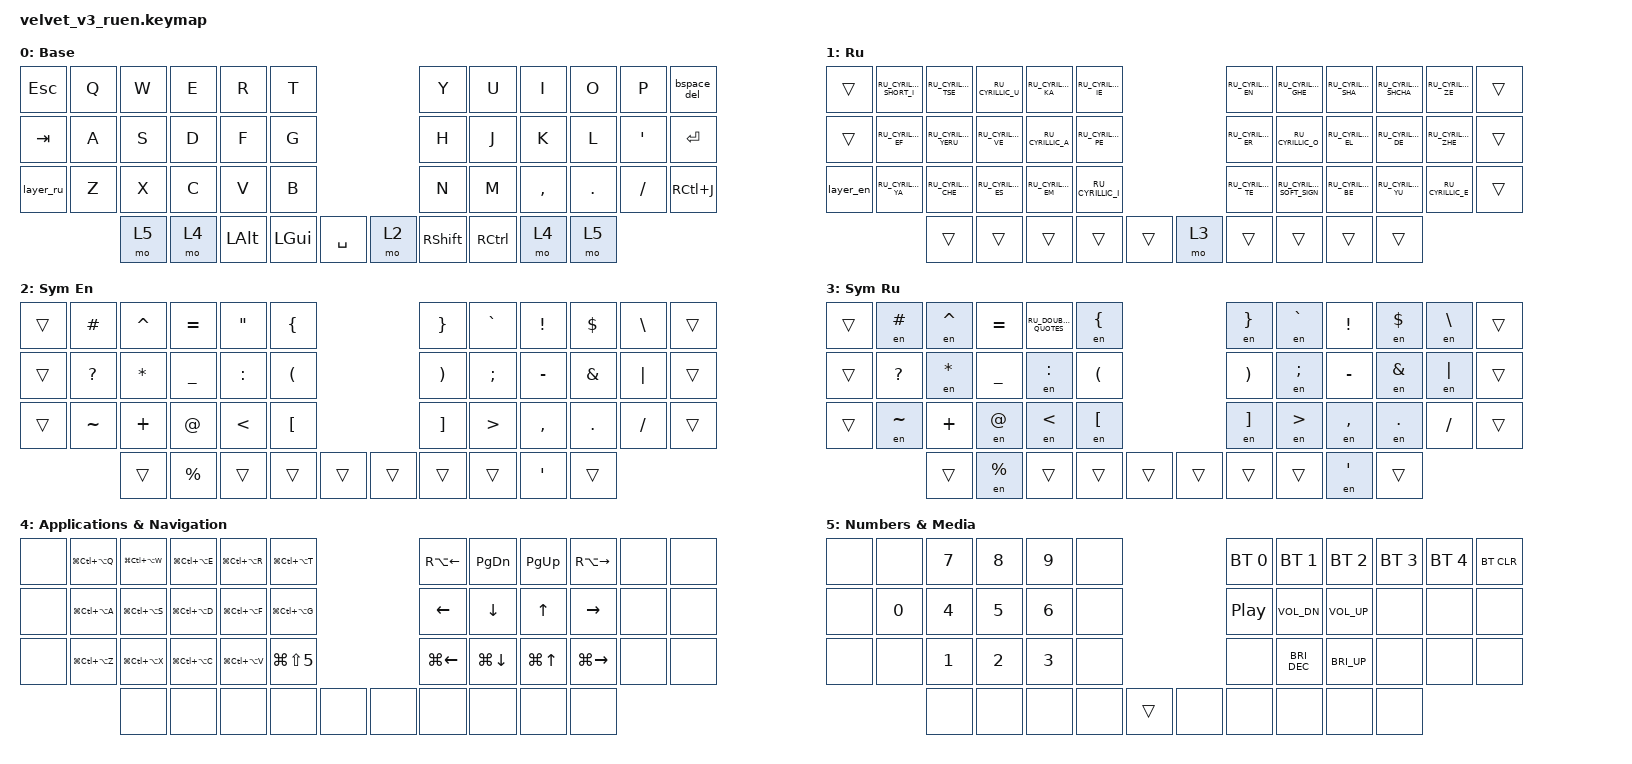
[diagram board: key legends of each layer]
#include "keys_ru.h"
#include <behaviors.dtsi>
#include <dt-bindings/zmk/bt.h>
#include <dt-bindings/zmk/keys.h>

/ {
    combos {
        compatible = "zmk,combos";

        kha {
            bindings = <&kp RU_CYRILLIC_HA>;
            key-positions = <7 8>;
            layers = <1>;
        };

        hrdsgn {
            bindings = <&kp RU_CYRILLIC_HARD_SIGN>;
            key-positions = <8 9>;
            layers = <1>;
        };

        spotlight {
            bindings = <&kp LG(SPACE)>;
            key-positions = <39 40>;
        };

        caps-word {
            bindings = <&caps_word>;
            key-positions = <24 35>;
        };
    };

    macros {
        to_ru: to_ru {
            compatible = "zmk,behavior-macro";
            #binding-cells = <0>;
            bindings = <&kp LS(LC(N2))>;
            label = "TO_RU";
            wait-ms = <0>;
            tap-ms = <30>;
        };

        to_en: to_en {
            compatible = "zmk,behavior-macro";
            #binding-cells = <0>;
            bindings = <&kp LS(LC(N1))>;
            label = "TO_EN";
            wait-ms = <0>;
            tap-ms = <30>;
        };

        layer_en: layer_en {
            compatible = "zmk,behavior-macro";
            #binding-cells = <0>;
            bindings = <&to 0 &to_en>;
            label = "LAYER_EN";
            wait-ms = <0>;
            tap-ms = <30>;
        };

        layer_ru: layer_ru {
            compatible = "zmk,behavior-macro";
            #binding-cells = <0>;
            bindings = <&to 1 &to_ru>;
            label = "LAYER_RU";
            tap-ms = <30>;
            wait-ms = <0>;
        };

        en: en {
            compatible = "zmk,behavior-macro-one-param";
            #binding-cells = <1>;
            bindings =
                <&to_en>,
                <&macro_press>,
                <&macro_param_1to1 &kp MACRO_PLACEHOLDER>,
                <&macro_pause_for_release>,
                <&macro_release>,
                <&macro_param_1to1 &kp MACRO_PLACEHOLDER>,
                <&macro_tap>,
                <&to_ru>;

            label = "EN";
            wait-ms = <0>;
            tap-ms = <30>;
        };
    };

    behaviors {
        bspace_del: bspace_del {
            compatible = "zmk,behavior-mod-morph";
            label = "BSPACE_DEL";
            bindings = <&kp BACKSPACE>, <&kp DELETE>;

            #binding-cells = <0>;
            mods = <(MOD_LSFT | MOD_RSFT)>;
        };
    };

    keymap {
        compatible = "zmk,keymap";

        en {
            bindings = <
&kp ESC    &kp Q  &kp W  &kp E  &kp R         &kp T                             &kp Y            &kp U              &kp I      &kp O    &kp P           &bspace_del
&kp TAB    &kp A  &kp S  &kp D  &kp F         &kp G                             &kp H            &kp J              &kp K      &kp L    &kp APOSTROPHE  &kp ENTER
&layer_ru  &kp Z  &kp X  &kp C  &kp V         &kp B                             &kp N            &kp M              &kp COMMA  &kp DOT  &kp SLASH       &kp RC(J)
                  &mo 5  &mo 4  &kp LEFT_ALT  &kp LEFT_GUI  &kp SPACE    &mo 2  &kp RIGHT_SHIFT  &kp RIGHT_CONTROL  &mo 4      &mo 5
            >;

            display-name = "Base";
        };

        ru {
            display-name = "Ru";
            bindings = <
&trans     &kp RU_CYRILLIC_SHORT_I  &kp RU_CYRILLIC_TSE   &kp RU_CYRILLIC_U   &kp RU_CYRILLIC_KA  &kp RU_CYRILLIC_IE                   &kp RU_CYRILLIC_EN  &kp RU_CYRILLIC_GHE        &kp RU_CYRILLIC_SHA  &kp RU_CYRILLIC_SHCHA  &kp RU_CYRILLIC_ZE   &trans
&trans     &kp RU_CYRILLIC_EF       &kp RU_CYRILLIC_YERU  &kp RU_CYRILLIC_VE  &kp RU_CYRILLIC_A   &kp RU_CYRILLIC_PE                   &kp RU_CYRILLIC_ER  &kp RU_CYRILLIC_O          &kp RU_CYRILLIC_EL   &kp RU_CYRILLIC_DE     &kp RU_CYRILLIC_ZHE  &trans
&layer_en  &kp RU_CYRILLIC_YA       &kp RU_CYRILLIC_CHE   &kp RU_CYRILLIC_ES  &kp RU_CYRILLIC_EM  &kp RU_CYRILLIC_I                    &kp RU_CYRILLIC_TE  &kp RU_CYRILLIC_SOFT_SIGN  &kp RU_CYRILLIC_BE   &kp RU_CYRILLIC_YU     &kp RU_CYRILLIC_E    &trans
                                    &trans                &trans              &trans              &trans              &trans    &mo 3  &trans              &trans                     &trans               &trans
            >;
        };

        sym_en {
            bindings = <
&trans  &kp HASH      &kp CARET     &kp EQUAL       &kp DOUBLE_QUOTES  &kp LEFT_BRACE                          &kp RIGHT_BRACE        &kp GRAVE         &kp EXCL          &kp DOLLAR  &kp BACKSLASH  &trans
&trans  &kp QUESTION  &kp ASTERISK  &kp UNDERSCORE  &kp COLON          &kp LEFT_PARENTHESIS                    &kp RIGHT_PARENTHESIS  &kp SEMI          &kp MINUS         &kp AMPS    &kp PIPE       &trans
&trans  &kp TILDE     &kp PLUS      &kp AT          &kp LESS_THAN      &kp LEFT_BRACKET                        &kp RIGHT_BRACKET      &kp GREATER_THAN  &kp COMMA         &kp DOT     &kp SLASH      &trans
                      &trans        &kp PERCENT     &trans             &trans                &trans    &trans  &trans                 &trans            &kp SINGLE_QUOTE  &trans
            >;

            display-name = "Sym En";
        };

        sym_ru {
            display-name = "Sym Ru";
            bindings = <
&trans  &en HASH      &en CARET     &kp EQUAL       &kp RU_DOUBLE_QUOTES  &en LEFT_BRACE                          &en RIGHT_BRACE        &en GRAVE         &kp EXCL          &en DOLLAR  &en BACKSLASH  &trans
&trans  &kp QUESTION  &en ASTERISK  &kp UNDERSCORE  &en COLON             &kp LEFT_PARENTHESIS                    &kp RIGHT_PARENTHESIS  &en SEMICOLON     &kp MINUS         &en AMPS    &en PIPE       &trans
&trans  &en TILDE     &kp PLUS      &en AT          &en LESS_THAN         &en LEFT_BRACKET                        &en RIGHT_BRACKET      &en GREATER_THAN  &en COMMA         &en DOT     &kp SLASH      &trans
                      &trans        &en PERCENT     &trans                &trans                &trans    &trans  &trans                 &trans            &en SINGLE_QUOTE  &trans
            >;
        };

        apps_nav {
            bindings = <
&none  &kp LG(LC(LA(Q)))  &kp LG(LC(LA(W)))  &kp LG(LC(LA(E)))  &kp LG(LC(LA(R)))  &kp LG(LC(LA(T)))                     &kp RA(LEFT_ARROW)  &kp PAGE_DOWN   &kp PAGE_UP   &kp RA(RIGHT_ARROW)  &none  &none
&none  &kp LG(LC(LA(A)))  &kp LG(LC(LA(S)))  &kp LG(LC(LA(D)))  &kp LG(LC(LA(F)))  &kp LG(LC(LA(G)))                     &kp LEFT            &kp DOWN_ARROW  &kp UP_ARROW  &kp RIGHT            &none  &none
&none  &kp LG(LC(LA(Z)))  &kp LG(LC(LA(X)))  &kp LG(LC(LA(C)))  &kp LG(LC(LA(V)))  &kp LG(LS(NUMBER_5))                  &kp LG(LEFT_ARROW)  &kp LG(DOWN)    &kp LG(UP)    &kp LG(RIGHT_ARROW)  &none  &none
                          &none              &none              &none              &none                 &none    &none  &none               &none           &none         &none
            >;

            label = "Applications & Navigation";
        };

        num_media {
            bindings = <
&none  &none   &kp N7  &kp N8  &kp N9  &none                   &bt BT_SEL 0      &bt BT_SEL 1          &bt BT_SEL 2  &bt BT_SEL 3  &bt BT_SEL 4  &bt BT_CLR
&none  &kp N0  &kp N4  &kp N5  &kp N6  &none                   &kp C_PLAY_PAUSE  &kp C_VOL_DN          &kp C_VOL_UP  &none         &none         &none
&none  &none   &kp N1  &kp N2  &kp N3  &none                   &none             &kp C_BRIGHTNESS_DEC  &kp C_BRI_UP  &none         &none         &none
               &none   &none   &none   &none  &trans    &none  &none             &none                 &none         &none
            >;

            display-name = "Numbers & Media";
        };
    };
};
